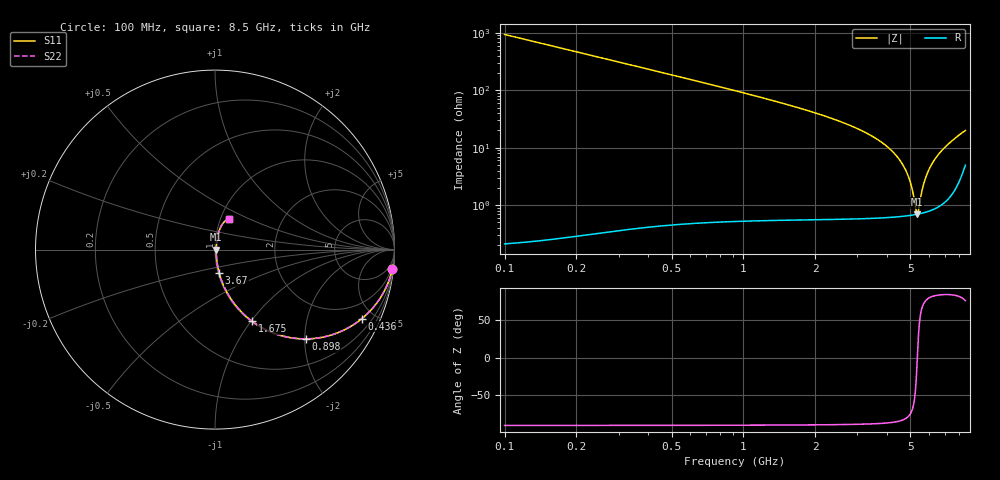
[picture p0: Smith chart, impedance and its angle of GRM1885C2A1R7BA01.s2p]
!Murata Part Number: GRM1885C2A1R7BA01
!These Parameters are Measured in Series Mode Connection
!Data Generated on Mar 30, 2021
!  o--ll--o
!Port1  Port2
!  o------o
!Operation Temp=25[degC], DC Bias Voltage=0[V]
!Freq. Start=100[MHz] Stop=9[GHz] 401[Steps]
# Hz S RI R 50
!Freq.(Hz) S11(Real) S11(Imag) S21(Real) S21(Imag) S12(Real) S12(Imag) S22(Real) S22(Imag)
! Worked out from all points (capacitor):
!   401 points, 100 MHz to 8.5 GHz, reference 50 ohm
!   read as one part in series: C = 1.7 pF near 142 MHz
!   lowest |Z| = 697 mohm at 5.35 GHz (marker M1)
!   series resonance near 5.347 GHz, so ESL is about 520 pH
!   S11 on the Smith chart (normalised r, x): 100 MHz: 1, -19; 436 MHz: 1.01, -4.26; 898 MHz: 1.01, -2.03; 1.675 GHz: 1.01, -1.01; 3.67 GHz: 1.01, -0.27; 8.5 GHz: 1.10, +0.39
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1e8  0.9887 -0.1057  0.0113 0.1057  0.0113 0.1057  0.9887 -0.1057
2.47e8  0.9344 -0.2471  0.0656 0.2471  0.0656 0.2471  0.9344 -0.2471
4.36e8  0.8191 -0.3839  0.1809 0.3839  0.1809 0.3839  0.8191 -0.3839
6.46e8  0.6701 -0.4685  0.3299 0.4685  0.3299 0.4685  0.6701 -0.4685
8.98e8  0.5062 -0.4974  0.4938 0.4974  0.4938 0.4974  0.5062 -0.4974
1.507e9  0.2487 -0.4275  0.7513 0.4275  0.7513 0.4275  0.2487 -0.4275
1.675e9  0.2055 -0.3986  0.7945 0.3986  0.7945 0.3986  0.2055 -0.3986
2.914e9  0.054 -0.2136  0.946 0.2136  0.946 0.2136  0.054 -0.2136
3.67e9  0.0238 -0.1323  0.9762 0.1323  0.9762 0.1323  0.0238 -0.1323
4.3e9  0.0121 -0.0767  0.9879 0.0767  0.9879 0.0767  0.0121 -0.0767
4.636e9  0.0089 -0.0503  0.9911 0.0503  0.9911 0.0503  0.0089 -0.0503
4.909e9  0.00745 -0.0302  0.9925 0.0302  0.9925 0.0302  0.00745 -0.0302
5.077e9  0.007 -0.0184  0.993 0.0184  0.993 0.0184  0.007 -0.0184
5.287e9  0.00687 -0.00401  0.9931 0.00401  0.9931 0.00401  0.00687 -0.00401
5.35e9  0.00692 0.000191  0.9931 -0.000191  0.9931 -0.000191  0.00692 0.000191
5.392e9  0.00697 0.00297  0.993 -0.00297  0.993 -0.00297  0.00697 0.00297
5.56e9  0.00736 0.0139  0.9926 -0.0139  0.9926 -0.0139  0.00736 0.0139
5.707e9  0.0079 0.0233  0.9921 -0.0233  0.9921 -0.0233  0.0079 0.0233
5.938e9  0.00915 0.0376  0.9908 -0.0376  0.9908 -0.0376  0.00915 0.0376
6.232e9  0.0114 0.0553  0.9886 -0.0553  0.9886 -0.0553  0.0114 0.0553
7.114e9  0.0234 0.1056  0.9766 -0.1056  0.9766 -0.1056  0.0234 0.1056
8.5e9  0.0785 0.1694  0.9215 -0.1694  0.9215 -0.1694  0.0785 0.1694
